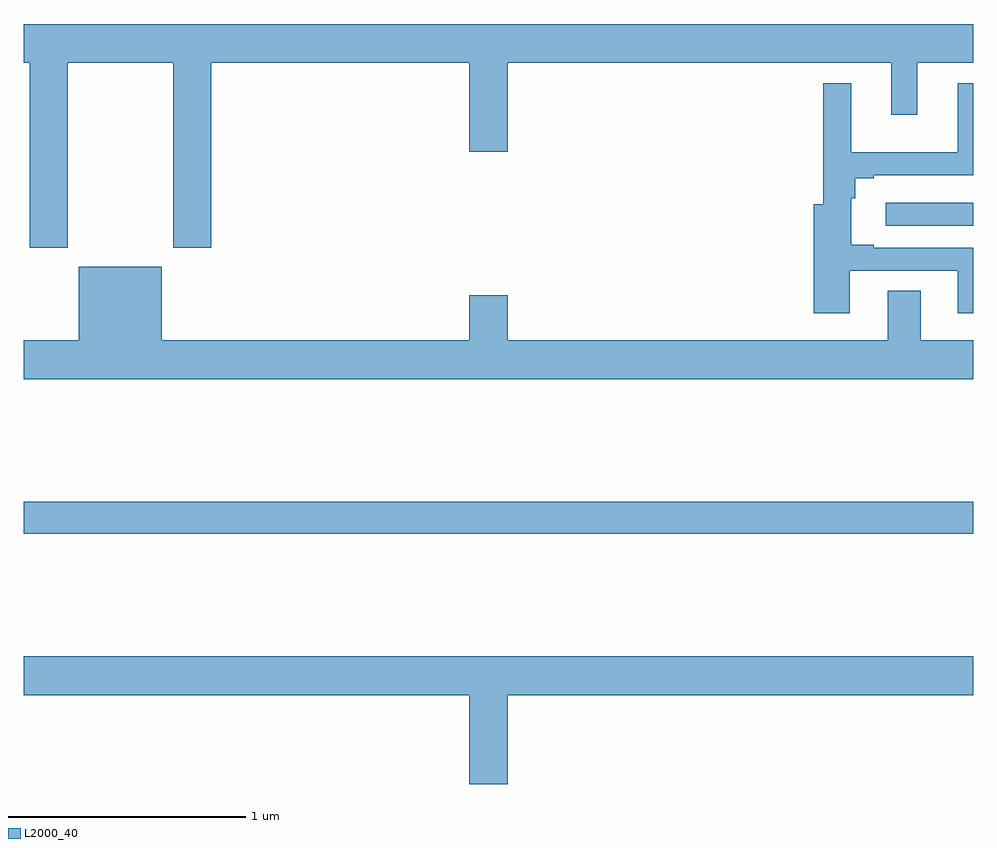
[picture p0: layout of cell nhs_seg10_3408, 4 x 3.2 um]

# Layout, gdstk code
import gdstk
lib = gdstk.Library(unit=1e-6, precision=1e-09)
def R(c, l, rs):  # rectangles x0, y0, x1, y1
    for r in rs: c.add(gdstk.rectangle(r[:2], r[2:], *l))
def P(c, l, *ps):  # polygons
    for p in ps: c.add(gdstk.Polygon(p, *l))
L2000_40 = (2000, 40)

nhs_seg10_3408 = lib.new_cell('nhs_seg10_3408')
R(nhs_seg10_3408, L2000_40, [(295,1319.644,299,1319.78), (298.632,1320.942,299,1321.038)])
P(nhs_seg10_3408, L2000_40, [(295.185,1321.628),(295.63,1321.628),(295.63,1320.849),(295.79,1320.849),(295.79,1321.628),(296.876,1321.628),(296.876,1321.254),(297.04,1321.254),(297.04,1321.628),(298.655,1321.628),(298.655,1321.41),(298.765,1321.41),(298.765,1321.628),(299,1321.628),(299,1321.792),(295,1321.792),(295,1321.628),(295.025,1321.628),(295.025,1320.849),(295.185,1320.849)],
  [(298.48,1320.753),(298.934,1320.753),(298.934,1320.573),(299,1320.573),(299,1320.849),(298.582,1320.849),(298.582,1320.862),(298.486,1320.862),(298.486,1321.058),(298.504,1321.058),(298.504,1321.143),(298.582,1321.143),(298.582,1321.155),(299,1321.155),(299,1321.543),(298.934,1321.543),(298.934,1321.252),(298.486,1321.252),(298.486,1321.543),(298.368,1321.543),(298.368,1321.033),(298.328,1321.033),(298.328,1320.573),(298.48,1320.573)],
  [(299,1320.46),(298.78,1320.46),(298.78,1320.668),(298.64,1320.668),(298.64,1320.46),(297.04,1320.46),(297.04,1320.649),(296.876,1320.649),(296.876,1320.46),(295.582,1320.46),(295.582,1320.769),(295.232,1320.769),(295.232,1320.46),(295,1320.46),(295,1320.296),(299,1320.296)],
  [(297.04,1318.964),(299,1318.964),(299,1319.128),(295,1319.128),(295,1318.964),(296.876,1318.964),(296.876,1318.59),(297.04,1318.59)])

lib.write_gds('nhs_seg10_3408.gds')
